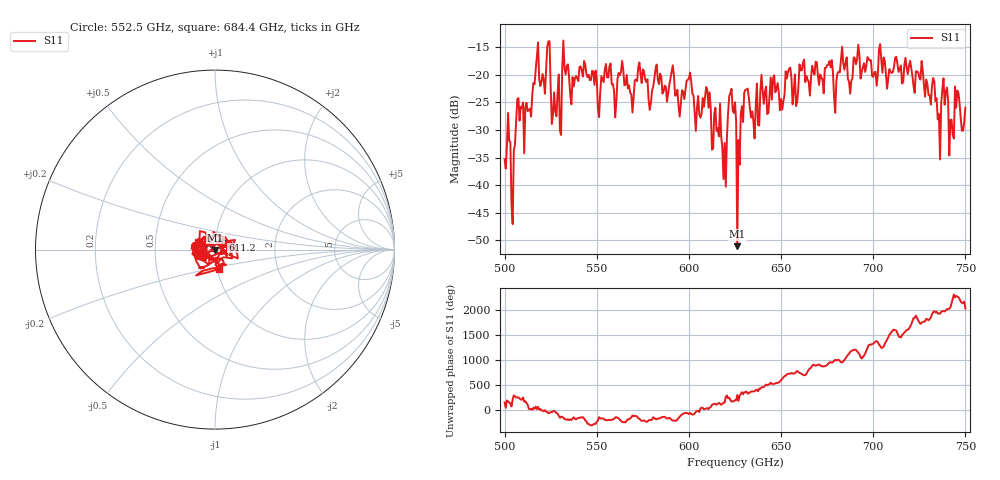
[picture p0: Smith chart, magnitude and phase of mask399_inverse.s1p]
!Created with skrf (http://scikit-rf.org).
# GHz S MA R 50.0
!freq magS11 angS11
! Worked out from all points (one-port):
!   401 points, 500 GHz to 750 GHz, reference 50 ohm
!   lowest |S11| = -51.0 dB at 626.2 GHz (marker M1), VSWR 1.01, Z = 50.2 - j0.237 ohm
!   |S11| at or under -10 dB: start of sweep to end of sweep
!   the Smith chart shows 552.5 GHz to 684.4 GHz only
!   S11 on the Smith chart (normalised r, x): 552.5 GHz: 0.83, -0.05; 611.2 GHz: 1.08, +0.12; 684.4 GHz: 1.02, -0.22
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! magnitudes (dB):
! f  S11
! 500 GHz  -35.3
! 504.4 GHz  -47.0
! 507.5 GHz  -24.3
! 511.9 GHz  -25.1
! 516.9 GHz  -19.1
! 523.8 GHz  -14.0
! 526.9 GHz  -23.2
! 531.2 GHz  -19.0
! 533.1 GHz  -20.0
! 552.5 GHz  -20.3
! 562.5 GHz  -20.1
! 593.8 GHz  -22.8
! 611.2 GHz  -23.2
! 619.4 GHz  -32.4
! 623.8 GHz  -26.6
! 625 GHz  -25.0
! 626.2 GHz  -51.0
! 631.2 GHz  -22.7
! 634.4 GHz  -26.7
! 656.2 GHz  -25.4
! 684.4 GHz  -19.1
! 687.5 GHz  -23.4
! 718.8 GHz  -19.9
! 735 GHz  -28.1
! 738.8 GHz  -25.5
! 742.5 GHz  -28.2
! 745.6 GHz  -22.9
! 750 GHz  -26.0
